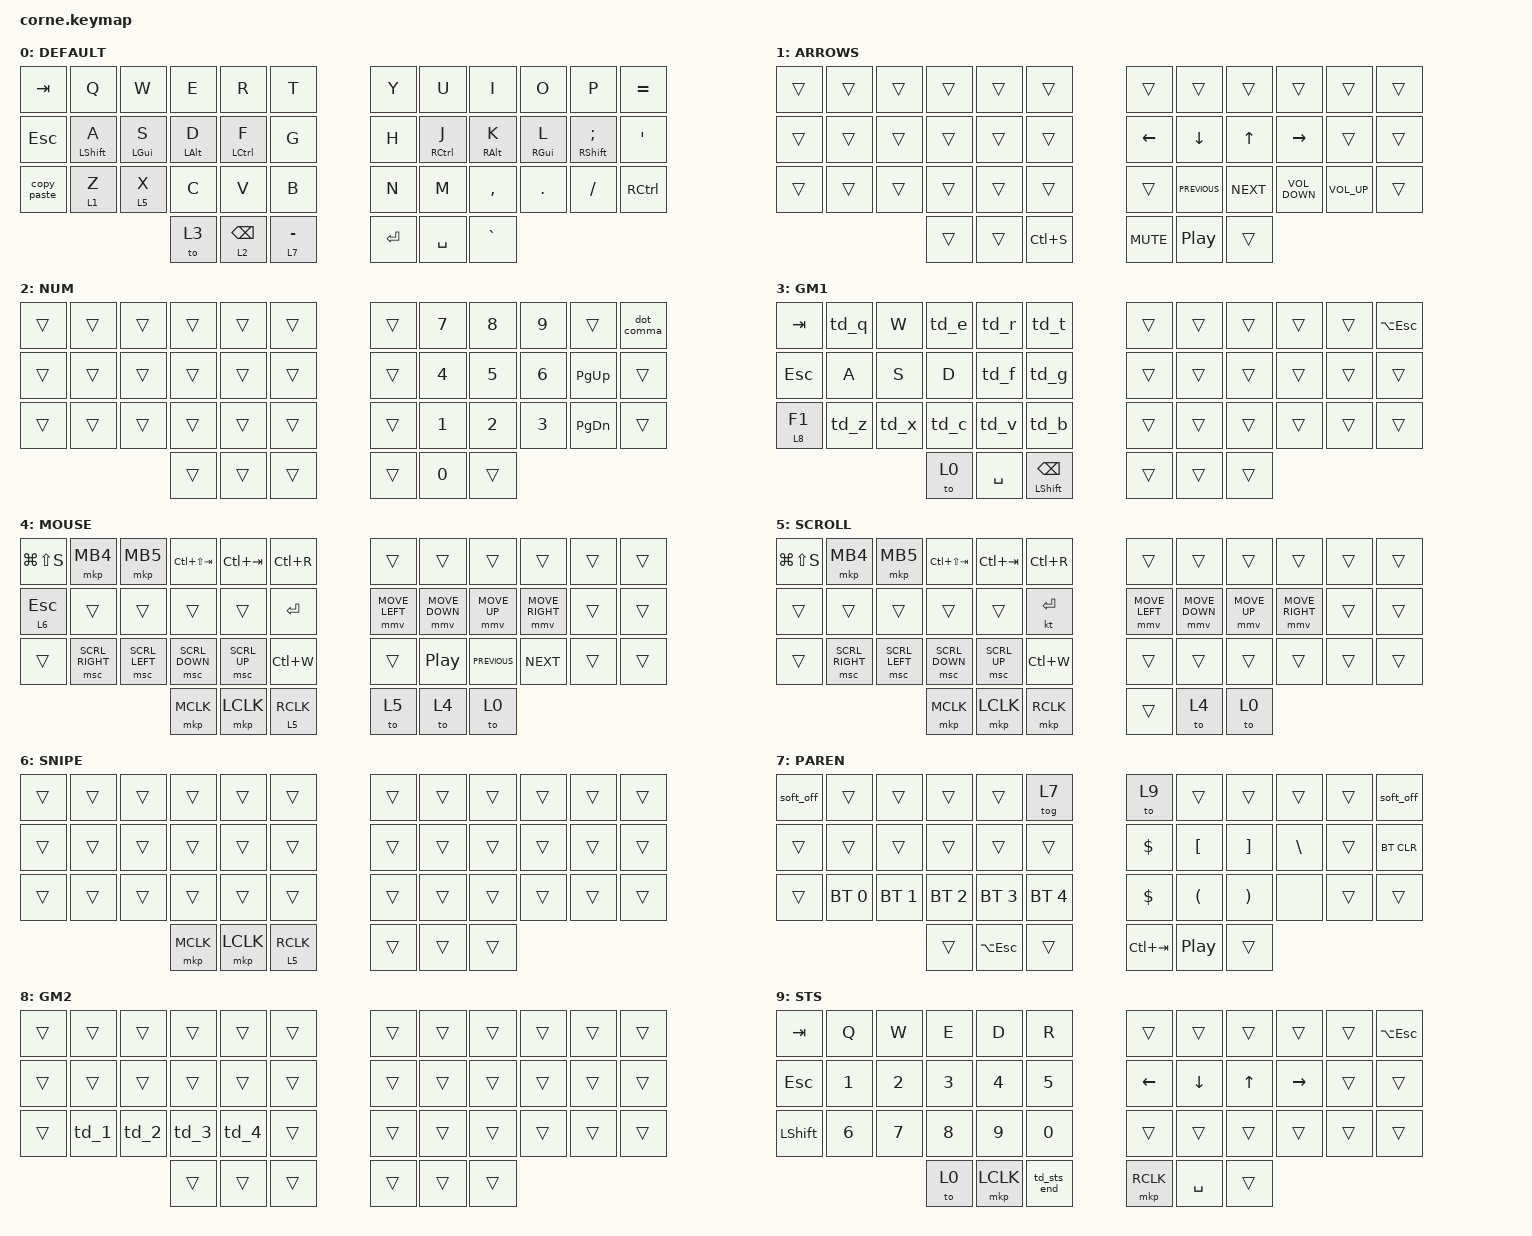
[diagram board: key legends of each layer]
/*
 * Copyright (c) 2020 The ZMK Contributors
 *
 * SPDX-License-Identifier: MIT
 */

// Mirrors the keyball44 config (bradfordwagner/zmk-config-Keyball44) minus the
// onboard PMW3610 trackball. Layer numbering is kept identical to keyball so
// future catch-ups are a near-1:1 port. The MOUSE/SCROLL/SNIPE layers exist for
// structural parity and are reached via the combos below (corne has no
// automouse/scroll/snipe hardware layer-switching and cannot change CPI in
// firmware).

#define DEFAULT 0
#define ARROWS  1
#define NUM     2
#define GM1     3
#define MOUSE   4
#define SCROLL  5
#define SNIPE   6
#define PAREN   7
#define GM2     8
#define STS     9

// override mouse movement speed (for explicit mmv bindings)

#define ZMK_POINTING_DEFAULT_MOVE_VAL 3200  // default: 600
#define ZMK_POINTING_DEFAULT_SCRL_VAL 30    // default: 10

#include <behaviors.dtsi>
#include <dt-bindings/zmk/bt.h>
#include <dt-bindings/zmk/keys.h>
#include <dt-bindings/zmk/pointing.h>

&lt {
    tapping-term-ms = <240>;
    flavor = "balanced";
    quick-tap-ms = <200>;
};

&mt {
    tapping-term-ms = <200>;
    flavor = "tap-preferred";
    quick-tap-ms = <150>;
};

&caps_word { continue-list = <UNDERSCORE MINUS>; };

/ {
    behaviors {
        copy_paste: copy_paste {
            compatible = "zmk,behavior-tap-dance";
            label = "COPY_PASTE";
            #binding-cells = <0>;
            bindings = <&kp LC(C)>, <&kp LC(V)>;
        };

        home_row: home_row {
            compatible = "zmk,behavior-hold-tap";
            label = "HOME_ROW";
            bindings = <&kp>, <&kp>;

            #binding-cells = <2>;
            flavor = "tap-preferred";
            tapping-term-ms = <150>;

            // if a key is tapped again within this window it always sends the tap (no mod),
            // preventing missed repeated letters; matched to the global &mt value for consistency

            quick-tap-ms = <150>;

            // mod only activates if the keyboard was idle for this long before the hold,
            // preventing accidental mods during fast typing rolls; set slightly below tapping-term
            // so it only blocks mid-word sequences without slowing intentional modifier use

            require-prior-idle-ms = <100>;
        };

        dot_comma: dot_comma {
            compatible = "zmk,behavior-tap-dance";
            label = "DOT_COMMA";
            #binding-cells = <0>;
            bindings = <&kp PERIOD>, <&kp COMMA>;
        };

        td_q: td_q {
            compatible = "zmk,behavior-tap-dance";
            label = "TD_Q";
            #binding-cells = <0>;
            bindings = <&kp Q>, <&kp LC(Q)>;

            tapping-term-ms = <175>;
        };

        td_e: td_e {
            compatible = "zmk,behavior-tap-dance";
            label = "TD_E";
            #binding-cells = <0>;
            bindings = <&kp E>, <&kp LC(E)>;

            tapping-term-ms = <175>;
        };

        td_r: td_r {
            compatible = "zmk,behavior-tap-dance";
            label = "TD_R";
            #binding-cells = <0>;
            bindings = <&kp R>, <&kp LC(R)>;

            tapping-term-ms = <175>;
        };

        td_t: td_t {
            compatible = "zmk,behavior-tap-dance";
            label = "TD_T";
            #binding-cells = <0>;
            bindings = <&kp T>, <&kp LC(T)>;

            tapping-term-ms = <175>;
        };

        td_z: td_z {
            compatible = "zmk,behavior-tap-dance";
            label = "TD_Z";
            #binding-cells = <0>;
            bindings = <&kp Z>, <&kp LC(Z)>;

            tapping-term-ms = <175>;
        };

        td_x: td_x {
            compatible = "zmk,behavior-tap-dance";
            label = "TD_X";
            #binding-cells = <0>;
            bindings = <&kp X>, <&kp LC(X)>;

            tapping-term-ms = <175>;
        };

        td_c: td_c {
            compatible = "zmk,behavior-tap-dance";
            label = "TD_C";
            #binding-cells = <0>;
            bindings = <&kp C>, <&kp LC(C)>;

            tapping-term-ms = <175>;
        };

        td_b: td_b {
            compatible = "zmk,behavior-tap-dance";
            label = "TD_B";
            #binding-cells = <0>;
            bindings = <&kp B>, <&kp LC(B)>;

            tapping-term-ms = <175>;
        };

        td_v: td_v {
            compatible = "zmk,behavior-tap-dance";
            label = "TD_V";
            #binding-cells = <0>;
            bindings = <&kp V>, <&kp LC(V)>;

            tapping-term-ms = <175>;
        };

        td_f: td_f {
            compatible = "zmk,behavior-tap-dance";
            label = "TD_F";
            #binding-cells = <0>;
            bindings = <&kp F>, <&kp LC(F)>;

            tapping-term-ms = <175>;
        };

        td_g: td_g {
            compatible = "zmk,behavior-tap-dance";
            label = "TD_G";
            #binding-cells = <0>;
            bindings = <&kp G>, <&kp LC(G)>;

            tapping-term-ms = <175>;
        };

        td_1: td_1 {
            compatible = "zmk,behavior-tap-dance";
            label = "TD_1";
            #binding-cells = <0>;
            bindings = <&kp NUMBER_1>, <&kp LC(NUMBER_1)>;

            tapping-term-ms = <175>;
        };

        td_2: td_2 {
            compatible = "zmk,behavior-tap-dance";
            label = "TD_2";
            #binding-cells = <0>;
            bindings = <&kp NUMBER_2>, <&kp LC(NUMBER_2)>;

            tapping-term-ms = <175>;
        };

        td_3: td_3 {
            compatible = "zmk,behavior-tap-dance";
            label = "TD_3";
            #binding-cells = <0>;
            bindings = <&kp NUMBER_3>, <&kp LC(NUMBER_3)>;

            tapping-term-ms = <175>;
        };

        td_4: td_4 {
            compatible = "zmk,behavior-tap-dance";
            label = "TD_4";
            #binding-cells = <0>;
            bindings = <&kp NUMBER_4>, <&kp LC(NUMBER_4)>;

            tapping-term-ms = <175>;
        };

        td_sts_end: td_sts_end {
            compatible = "zmk,behavior-tap-dance";
            label = "TD_STS_END";
            #binding-cells = <0>;
            bindings = <&kp ENTER>, <&kp E>;

            tapping-term-ms = <175>;
        };

        mo_mkp: mo_mkp {
            compatible = "zmk,behavior-hold-tap";
            label = "MO_MKP";
            #binding-cells = <2>;
            flavor = "hold-preferred";
            tapping-term-ms = <150>;
            bindings = <&mo>, <&mkp>;
        };
    };

    combos {
        compatible = "zmk,combos";

        // Corne thumb positions are keyball's minus 2 (keyball pads the outer thumb
        // cluster with two &none). Layer numbering matches keyball exactly.

        to_scroll {
            bindings = <&to 5>;
            key-positions = <38 17>;
            layers = <0 7 4 5>;
        };

        to_home {
            bindings = <&to 0>;
            key-positions = <16 38>;
            layers = <5 0 7 4>;
        };

        to_mouse {
            bindings = <&to 4>;
            key-positions = <38 15>;
            layers = <0 5 7 4>;
        };

        tab_prev {
            bindings = <&kp LC(LS(TAB))>;
            key-positions = <13 38>;
            layers = <5 7 4 3>;
        };

        tab_next {
            bindings = <&kp LC(TAB)>;
            key-positions = <14 38>;
            layers = <3 5 7 4>;
        };

        tab_refresh {
            bindings = <&kp LC(R)>;
            key-positions = <14 13 38>;
            layers = <3 5 7 4>;
        };

        equal {
            bindings = <&kp EQUAL>;
            key-positions = <31 32>;
            layers = <0>;
        };

        backtick-r {
            bindings = <&kp GRAVE>;
            key-positions = <32 33>;
            layers = <0>;
        };

        cmd {
            bindings = <&kp LEFT_CONTROL>;
            key-positions = <26 27>;
            layers = <0 4 6>;
        };

        continuous {
            bindings = <&kp NUMBER_1>;
            key-positions = <28 27>;
            layers = <0>;
        };

        g-grave {
            bindings = <&kp GRAVE>;
            key-positions = <16 37>;
            layers = <3>;
        };
    };

    keymap {
        compatible = "zmk,keymap";

        default_layer {
            label = "DEFAULT";
            bindings = <
&kp TAB      &kp Q                   &kp W              &kp E                 &kp R                     &kp T          &kp Y      &kp U                      &kp I                  &kp O              &kp P                            &kp EQUAL
&kp ESC      &home_row LEFT_SHIFT A  &home_row LEFT_GUI S  &home_row LEFT_ALT D  &home_row LEFT_CONTROL F  &kp G          &kp H      &home_row RIGHT_CONTROL J  &home_row RIGHT_ALT K  &home_row RIGHT_GUI L  &home_row RIGHT_SHIFT SEMICOLON  &kp SQT
&copy_paste  &lt 1 Z                 &lt 5 X            &kp C                 &kp V                     &kp B          &kp N      &kp M                      &kp COMMA              &kp DOT            &kp FSLH                         &kp RIGHT_CONTROL
                                                        &to 3                 &lt 2 BACKSPACE           &lt 7 MINUS    &kp ENTER  &kp SPACE                  &kp GRAVE
            >;
        };

        arrows {
            label = "ARROWS";
            bindings = <
&trans  &trans  &trans  &trans  &trans     &trans                  &trans            &trans          &trans        &trans             &trans           &trans
&trans  &trans  &trans  &trans  &trans     &trans                  &kp LEFT_ARROW    &kp DOWN_ARROW  &kp UP_ARROW  &kp RIGHT_ARROW    &trans           &trans
&trans  &trans  &trans  &trans  &trans     &trans                  &trans            &kp C_PREVIOUS  &kp C_NEXT    &kp C_VOLUME_DOWN  &kp C_VOLUME_UP  &trans
                        &trans  &trans     &kp LC(S)    &kp C_MUTE  &kp C_PLAY_PAUSE  &trans
            >;
        };

        numpad {
            label = "NUM";
            bindings = <
&trans  &trans  &trans  &trans  &trans      &trans      &trans  &kp N7        &kp N8        &kp N9        &trans     &dot_comma
&trans  &trans  &trans  &trans  &trans      &trans      &trans  &kp NUMBER_4  &kp N5        &kp NUMBER_6  &kp PG_UP  &trans
&trans  &trans  &trans  &trans  &trans      &trans      &trans  &kp NUMBER_1  &kp NUMBER_2  &kp NUMBER_3  &kp PG_DN  &trans
                        &trans  &trans      &trans      &trans  &kp N0        &trans
            >;
        };

        g1 {
            label = "GM1";
            bindings = <
&kp TAB     &td_q  &kp W  &td_e      &td_r                 &td_t      &trans  &trans  &trans  &trans  &trans  &kp LA(ESCAPE)
&kp ESCAPE  &kp A  &kp S  &kp D      &td_f                 &td_g      &trans  &trans  &trans  &trans  &trans  &trans
&lt 8 F1    &td_z  &td_x  &td_c      &td_v                 &td_b      &trans  &trans  &trans  &trans  &trans  &trans
                          &to 0      &kp SPACE  &mt LSHIFT BACKSPACE  &trans  &trans  &trans
            >;
        };

        mouse_layer {
            label = "MOUSE";
            bindings = <
&kp LG(LS(S))         &mkp MB4         &mkp MB5        &kp LC(LS(TAB))  &kp LC(TAB)   &kp LC(R)    &trans          &trans            &trans          &trans           &trans  &trans
&lt 6 ESCAPE          &trans           &trans          &trans           &trans        &kp ENTER    &mmv MOVE_LEFT  &mmv MOVE_DOWN    &mmv MOVE_UP    &mmv MOVE_RIGHT  &trans  &trans
&trans                &msc SCRL_RIGHT  &msc SCRL_LEFT  &msc SCRL_DOWN   &msc SCRL_UP  &kp LC(W)    &trans          &kp C_PLAY_PAUSE  &kp C_PREVIOUS  &kp C_NEXT       &trans  &trans
                                                       &mkp MCLK        &mkp LCLK     &mo_mkp 5 RCLK  &to 5        &to 4             &to 0
            >;
        };

        scroll_layer {
            label = "SCROLL";
            bindings = <
&kp LG(LS(S))         &mkp MB4         &mkp MB5        &kp LC(LS(TAB))  &kp LC(TAB)   &kp LC(R)    &trans          &trans          &trans        &trans           &trans  &trans
&trans                &trans           &trans          &trans           &trans        &kt ENTER    &mmv MOVE_LEFT  &mmv MOVE_DOWN  &mmv MOVE_UP  &mmv MOVE_RIGHT  &trans  &trans
&trans                &msc SCRL_RIGHT  &msc SCRL_LEFT  &msc SCRL_DOWN   &msc SCRL_UP  &kp LC(W)    &trans          &trans          &trans        &trans           &trans  &trans
                                                       &mkp MCLK        &mkp LCLK     &mkp RCLK    &trans          &to 4           &to 0
            >;
        };

        snipe_layer {
            label = "SNIPE";
            bindings = <
&trans  &trans  &trans     &trans     &trans          &trans      &trans  &trans  &trans  &trans  &trans  &trans
&trans  &trans  &trans     &trans     &trans          &trans      &trans  &trans  &trans  &trans  &trans  &trans
&trans  &trans  &trans     &trans     &trans          &trans      &trans  &trans  &trans  &trans  &trans  &trans
                           &mkp MCLK  &mkp LCLK       &mo_mkp 5 RCLK  &trans  &trans  &trans
            >;
        };

        paren {
            label = "PAREN";
            bindings = <
&soft_off  &trans        &trans        &trans          &trans        &tog 7        &to 9       &trans                &trans                 &trans         &trans  &soft_off
&trans     &trans        &trans        &trans          &trans        &trans        &kp DOLLAR  &kp LEFT_BRACKET      &kp RIGHT_BRACKET      &kp BACKSLASH  &trans  &bt BT_CLR
&trans     &bt BT_SEL 0  &bt BT_SEL 1  &bt BT_SEL 2    &bt BT_SEL 3  &bt BT_SEL 4  &kp DOLLAR  &kp LEFT_PARENTHESIS  &kp RIGHT_PARENTHESIS  &none          &trans  &trans
                                       &trans          &kp LA(ESCAPE) &trans       &kp LC(TAB)                &kp C_PP  &trans
            >;
        };

        gm2 {
            label = "GM2";
            bindings = <
&trans  &trans  &trans  &trans  &trans  &trans      &trans  &trans  &trans  &trans  &trans  &trans
&trans  &trans  &trans  &trans  &trans  &trans      &trans  &trans  &trans  &trans  &trans  &trans
&trans  &td_1   &td_2   &td_3   &td_4   &trans      &trans  &trans  &trans  &trans  &trans  &trans
                        &trans  &trans  &trans      &trans  &trans  &trans
            >;
        };

        sts {
            label = "STS";
            bindings = <
&kp TAB     &kp Q   &kp W   &kp E      &kp D        &kp R       &trans     &trans    &trans  &trans     &trans  &kp LA(ESCAPE)
&kp ESCAPE  &kp N1  &kp N2  &kp N3     &kp N4       &kp N5      &kp LEFT   &kp DOWN  &kp UP  &kp RIGHT  &trans  &trans
&kp LSHFT   &kp N6  &kp N7  &kp N8     &kp N9       &kp N0      &trans     &trans    &trans  &trans     &trans  &trans
                            &to 0      &mkp LCLK    &td_sts_end &mkp RCLK  &kp SPACE  &trans
            >;
        };
    };
};
